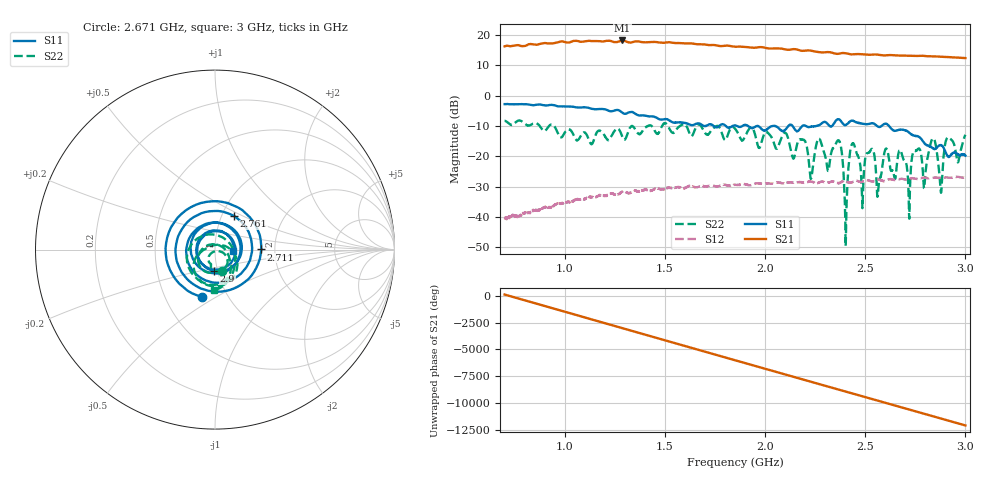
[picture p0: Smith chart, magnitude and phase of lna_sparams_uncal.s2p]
#  HZ  S  RI  R  50.00
! Rohde & Schwarz Vector Network Analyzer
! Rohde-Schwarz,ZNB20-2Port,1311601062102243,3.20
! Created: UTC 10/31/2022, 10:02:42 AM
! freq[Hz]  re:S11  im:S11  re:S21  im:S21  re:S12  im:S12  re:S22  im:S22
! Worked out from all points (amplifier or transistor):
!   2301 points, 700 MHz to 3 GHz, reference 50 ohm
!   highest |S21| = 18.2 dB at 1.287 GHz (marker M1)
!   |S21| within 3 dB of that: start of sweep to 2.105 GHz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
!   unconditionally stable (mu >= 1): start of sweep to end of sweep
!   at 1.083 GHz: K = 2.07, MAG = 20.1 dB, |S12| = -34.2 dB
!   at 1.85 GHz: K = 2.05, MAG = 16.9 dB, |S12| = -29.4 dB
!   at 3 GHz: K = 2.62, MAG = 12.7 dB, |S12| = -27.0 dB
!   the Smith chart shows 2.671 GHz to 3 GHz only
!   S11 on the Smith chart (normalised r, x): 2.671 GHz: 0.76, -0.43; 2.711 GHz: 1.69, +0.00; 2.761 GHz: 1.15, +0.45; 2.9 GHz: 0.96, -0.23; 3 GHz: 1.23, -0.02
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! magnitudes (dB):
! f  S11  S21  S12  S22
! 700 MHz  -2.8  16.2  -40.3  -8.3
! 1.084 GHz  -3.9  17.7  -34.3  -12.8
! 1.287 GHz  -5.6  18.2  -31.7  -13.5
! 1.467 GHz  -7.6  17.6  -30.7  -12.5
! 1.85 GHz  -9.8  16.1  -29.4  -10.9
! 2.19 GHz  -9.8  14.7  -28.7  -14.6
! 2.234 GHz  -10.2  14.7  -28.4  -26.0
! 2.266 GHz  -9.9  14.3  -28.7  -14.3
! 2.314 GHz  -9.4  14.3  -28.7  -24.8
! 2.367 GHz  -7.8  13.8  -28.8  -14.8
! 2.403 GHz  -9.7  14.0  -28.1  -48.6
! 2.436 GHz  -8.3  13.6  -28.5  -15.9
! 2.485 GHz  -9.2  13.6  -28.4  -35.7
! 2.617 GHz  -9.9  13.3  -27.6  -20.2
! 2.671 GHz  -11.2  13.2  -27.5  -18.1
! 2.711 GHz  -11.8  13.2  -27.6  -25.2
! 2.761 GHz  -13.3  13.1  -27.5  -17.7
! 2.796 GHz  -15.7  13.1  -27.0  -29.5
! 2.842 GHz  -17.6  13.0  -27.0  -14.2
! 2.877 GHz  -16.3  12.8  -27.1  -31.7
! 2.9 GHz  -18.5  12.7  -27.0  -15.6
! 3 GHz  -19.8  12.4  -27.0  -12.9
